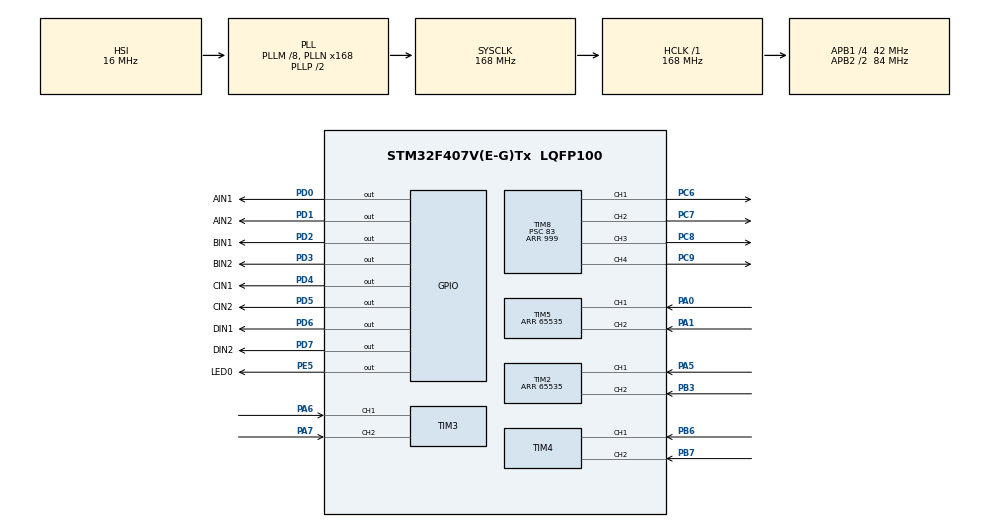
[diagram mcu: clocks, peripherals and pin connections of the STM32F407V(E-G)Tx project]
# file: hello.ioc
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Mcu.Family=STM32F4
Mcu.Name=STM32F407V(E-G)Tx
Mcu.Package=LQFP100
NVIC.PriorityGroup=NVIC_PRIORITYGROUP_4
NVIC.TIM6_DAC_IRQn=true\:0\:0\:false\:false\:true\:true\:true\:true
PA0-WKUP.Signal=S_TIM5_CH1
PA1.Signal=S_TIM5_CH2
PA13.Mode=Serial_Wire
PA13.Signal=SYS_JTMS-SWDIO
PA14.Mode=Serial_Wire
PA14.Signal=SYS_JTCK-SWCLK
PA5.Signal=S_TIM2_CH1_ETR
PA6.Signal=S_TIM3_CH1
PA7.Signal=S_TIM3_CH2
PB3.Signal=S_TIM2_CH2
PB6.Signal=S_TIM4_CH1
PB7.Signal=S_TIM4_CH2
PC6.Signal=S_TIM8_CH1
PC7.Signal=S_TIM8_CH2
PC8.Signal=S_TIM8_CH3
PC9.Signal=S_TIM8_CH4
PD0.GPIO_Label=AIN1
PD0.Signal=GPIO_Output
PD1.GPIO_Label=AIN2
PD1.Signal=GPIO_Output
PD2.GPIO_Label=BIN1
PD2.Signal=GPIO_Output
PD3.GPIO_Label=BIN2
PD3.Signal=GPIO_Output
PD4.GPIO_Label=CIN1
PD4.Signal=GPIO_Output
PD5.GPIO_Label=CIN2
PD5.Signal=GPIO_Output
PD6.GPIO_Label=DIN1
PD6.Signal=GPIO_Output
PD7.GPIO_Label=DIN2
PD7.Signal=GPIO_Output
PE5.GPIO_Label=LED0
PE5.Signal=GPIO_Output
PH0-OSC_IN.Mode=HSE-External-Oscillator
PH0-OSC_IN.Signal=RCC_OSC_IN
PH1-OSC_OUT.Mode=HSE-External-Oscillator
PH1-OSC_OUT.Signal=RCC_OSC_OUT
ProjectManager.HeapSize=0x200
ProjectManager.StackSize=0x400
ProjectManager.TargetToolchain=MDK-ARM V5.32
RCC.48MHZClocksFreq_Value=84000000
RCC.AHBFreq_Value=168000000
RCC.APB1CLKDivider=RCC_HCLK_DIV4
RCC.APB1Freq_Value=42000000
RCC.APB1TimFreq_Value=84000000
RCC.APB2CLKDivider=RCC_HCLK_DIV2
RCC.APB2Freq_Value=84000000
RCC.APB2TimFreq_Value=168000000
RCC.CortexFreq_Value=168000000
RCC.HCLKFreq_Value=168000000
RCC.HSE_VALUE=8000000
RCC.HSI_VALUE=16000000
RCC.LSE_VALUE=32768
RCC.PLLM=8
RCC.PLLN=168
RCC.SYSCLKFreq_VALUE=168000000
RCC.SYSCLKSource=RCC_SYSCLKSOURCE_PLLCLK
RCC.VCOOutputFreq_Value=336000000
SH.S_TIM2_CH1_ETR.0=TIM2_CH1,Encoder_Interface
SH.S_TIM2_CH2.0=TIM2_CH2,Encoder_Interface
SH.S_TIM3_CH1.0=TIM3_CH1,Encoder_Interface
SH.S_TIM3_CH2.0=TIM3_CH2,Encoder_Interface
SH.S_TIM4_CH1.0=TIM4_CH1,Encoder_Interface
SH.S_TIM4_CH2.0=TIM4_CH2,Encoder_Interface
SH.S_TIM5_CH1.0=TIM5_CH1,Encoder_Interface
SH.S_TIM5_CH2.0=TIM5_CH2,Encoder_Interface
SH.S_TIM8_CH1.0=TIM8_CH1,PWM Generation1 CH1
SH.S_TIM8_CH2.0=TIM8_CH2,PWM Generation2 CH2
SH.S_TIM8_CH3.0=TIM8_CH3,PWM Generation3 CH3
SH.S_TIM8_CH4.0=TIM8_CH4,PWM Generation4 CH4
TIM2.EncoderMode=TIM_ENCODERMODE_TI12
TIM2.Period=65535
TIM3.EncoderMode=TIM_ENCODERMODE_TI12
TIM4.EncoderMode=TIM_ENCODERMODE_TI12
TIM5.EncoderMode=TIM_ENCODERMODE_TI12
TIM5.Period=65535
TIM6.Period=999
TIM6.Prescaler=83
TIM8.Channel-PWM\ Generation1\ CH1=TIM_CHANNEL_1
TIM8.Channel-PWM\ Generation2\ CH2=TIM_CHANNEL_2
TIM8.Channel-PWM\ Generation3\ CH3=TIM_CHANNEL_3
TIM8.Channel-PWM\ Generation4\ CH4=TIM_CHANNEL_4
TIM8.Period=999
TIM8.Prescaler=83
VP_TIM6_VS_ClockSourceINT.Mode=Enable_Timer
VP_TIM8_VS_ClockSourceINT.Mode=Internal
board=custom

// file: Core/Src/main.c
/* USER CODE BEGIN Header */
/**
  ******************************************************************************
  * @file           : main.c
  * @brief          : Main program body
  ******************************************************************************
  * @attention
  *
  * Copyright (c) 2026 STMicroelectronics.
  * All rights reserved.
  *
  * This software is licensed under terms that can be found in the LICENSE file
  * in the root directory of this software component.
  * If no LICENSE file comes with this software, it is provided AS-IS.
  *
  ******************************************************************************
  */
/* USER CODE END Header */
#include "main.h"

TIM_HandleTypeDef htim2;
TIM_HandleTypeDef htim3;
TIM_HandleTypeDef htim4;
TIM_HandleTypeDef htim5;
TIM_HandleTypeDef htim6;
TIM_HandleTypeDef htim8;

/* USER CODE BEGIN PV */
static int32_t g_encoder_count_total[MOTOR_NUM];
static uint16_t g_encoder_count_last[MOTOR_NUM];
static float g_encoder_speed_counts[MOTOR_NUM];
volatile float g_wheel_speed_mmps[MOTOR_NUM];

/* USER CODE END PV */

void SystemClock_Config(void);
static void MX_GPIO_Init(void);
static void MX_TIM8_Init(void);
static void MX_TIM2_Init(void);
static void MX_TIM3_Init(void);
static void MX_TIM4_Init(void);
static void MX_TIM5_Init(void);
static void MX_TIM6_Init(void);
/* USER CODE BEGIN PFP */
static int16_t Encoder_CountToDelta(uint16_t now, uint16_t last);
static void Motor_SetPWM(uint8_t motor_id, int16_t pwm_val);

/* USER CODE END PFP */

int main(void)
{

  /* MCU Configuration--------------------------------------------------------*/

  /* Reset of all peripherals, Initializes the Flash interface and the Systick. */
  HAL_Init();

  /* Configure the system clock */
  SystemClock_Config();

  /* Initialize all configured peripherals */
  MX_GPIO_Init();
  MX_TIM8_Init();
  MX_TIM2_Init();
  MX_TIM3_Init();
  MX_TIM4_Init();
  MX_TIM5_Init();
  MX_TIM6_Init();
  /* USER CODE BEGIN 2 */
  Encoder_Init();
  if (HAL_TIM_Base_Start_IT(&htim6) != HAL_OK)
  {
    Error_Handler();
  }
  Motor_SetPWM(0, 500);
  Motor_SetPWM(1, -500);
  Motor_SetPWM(2, -500);
  Motor_SetPWM(3, 500);

  /* USER CODE END 2 */

  /* Infinite loop */
  while (1)
  {

    /* USER CODE BEGIN 3 */
		HAL_GPIO_TogglePin(LED0_GPIO_Port,LED0_Pin);
		HAL_Delay(100);
  }
  /* USER CODE END 3 */
}

void SystemClock_Config(void)
{
  RCC_OscInitTypeDef RCC_OscInitStruct = {0};
  RCC_ClkInitTypeDef RCC_ClkInitStruct = {0};

  /** Configure the main internal regulator output voltage
  */
  __HAL_RCC_PWR_CLK_ENABLE();
  __HAL_PWR_VOLTAGESCALING_CONFIG(PWR_REGULATOR_VOLTAGE_SCALE1);

  /** Initializes the RCC Oscillators according to the specified parameters
  * in the RCC_OscInitTypeDef structure.
  */
  RCC_OscInitStruct.OscillatorType = RCC_OSCILLATORTYPE_HSI;
  RCC_OscInitStruct.HSIState = RCC_HSI_ON;
  RCC_OscInitStruct.HSICalibrationValue = RCC_HSICALIBRATION_DEFAULT;
  RCC_OscInitStruct.PLL.PLLState = RCC_PLL_ON;
  RCC_OscInitStruct.PLL.PLLSource = RCC_PLLSOURCE_HSI;
  RCC_OscInitStruct.PLL.PLLM = 8;
  RCC_OscInitStruct.PLL.PLLN = 168;
  RCC_OscInitStruct.PLL.PLLP = RCC_PLLP_DIV2;
  RCC_OscInitStruct.PLL.PLLQ = 4;
  if (HAL_RCC_OscConfig(&RCC_OscInitStruct) != HAL_OK)
  {
    Error_Handler();
  }

  /** Initializes the CPU, AHB and APB buses clocks
  */
  RCC_ClkInitStruct.ClockType = RCC_CLOCKTYPE_HCLK|RCC_CLOCKTYPE_SYSCLK
                              |RCC_CLOCKTYPE_PCLK1|RCC_CLOCKTYPE_PCLK2;
  RCC_ClkInitStruct.SYSCLKSource = RCC_SYSCLKSOURCE_PLLCLK;
  RCC_ClkInitStruct.AHBCLKDivider = RCC_SYSCLK_DIV1;
  RCC_ClkInitStruct.APB1CLKDivider = RCC_HCLK_DIV4;
  RCC_ClkInitStruct.APB2CLKDivider = RCC_HCLK_DIV2;

  if (HAL_RCC_ClockConfig(&RCC_ClkInitStruct, FLASH_LATENCY_5) != HAL_OK)
  {
    Error_Handler();
  }
}

static void MX_TIM2_Init(void)
{

  TIM_Encoder_InitTypeDef sConfig = {0};
  TIM_MasterConfigTypeDef sMasterConfig = {0};

  htim2.Instance = TIM2;
  htim2.Init.Prescaler = 0;
  htim2.Init.CounterMode = TIM_COUNTERMODE_UP;
  htim2.Init.Period = 65535;
  htim2.Init.ClockDivision = TIM_CLOCKDIVISION_DIV1;
  htim2.Init.AutoReloadPreload = TIM_AUTORELOAD_PRELOAD_DISABLE;
  sConfig.EncoderMode = TIM_ENCODERMODE_TI12;
  sConfig.IC1Polarity = TIM_ICPOLARITY_RISING;
  sConfig.IC1Selection = TIM_ICSELECTION_DIRECTTI;
  sConfig.IC1Prescaler = TIM_ICPSC_DIV1;
  sConfig.IC1Filter = 0;
  sConfig.IC2Polarity = TIM_ICPOLARITY_RISING;
  sConfig.IC2Selection = TIM_ICSELECTION_DIRECTTI;
  sConfig.IC2Prescaler = TIM_ICPSC_DIV1;
  sConfig.IC2Filter = 0;
  if (HAL_TIM_Encoder_Init(&htim2, &sConfig) != HAL_OK)
  {
    Error_Handler();
  }
  sMasterConfig.MasterOutputTrigger = TIM_TRGO_RESET;
  sMasterConfig.MasterSlaveMode = TIM_MASTERSLAVEMODE_DISABLE;
  if (HAL_TIMEx_MasterConfigSynchronization(&htim2, &sMasterConfig) != HAL_OK)
  {
    Error_Handler();
  }

}

static void MX_TIM3_Init(void)
{

  TIM_Encoder_InitTypeDef sConfig = {0};
  TIM_MasterConfigTypeDef sMasterConfig = {0};

  htim3.Instance = TIM3;
  htim3.Init.Prescaler = 0;
  htim3.Init.CounterMode = TIM_COUNTERMODE_UP;
  htim3.Init.Period = 65535;
  htim3.Init.ClockDivision = TIM_CLOCKDIVISION_DIV1;
  htim3.Init.AutoReloadPreload = TIM_AUTORELOAD_PRELOAD_DISABLE;
  sConfig.EncoderMode = TIM_ENCODERMODE_TI12;
  sConfig.IC1Polarity = TIM_ICPOLARITY_RISING;
  sConfig.IC1Selection = TIM_ICSELECTION_DIRECTTI;
  sConfig.IC1Prescaler = TIM_ICPSC_DIV1;
  sConfig.IC1Filter = 0;
  sConfig.IC2Polarity = TIM_ICPOLARITY_RISING;
  sConfig.IC2Selection = TIM_ICSELECTION_DIRECTTI;
  sConfig.IC2Prescaler = TIM_ICPSC_DIV1;
  sConfig.IC2Filter = 0;
  if (HAL_TIM_Encoder_Init(&htim3, &sConfig) != HAL_OK)
  {
    Error_Handler();
  }
  sMasterConfig.MasterOutputTrigger = TIM_TRGO_RESET;
  sMasterConfig.MasterSlaveMode = TIM_MASTERSLAVEMODE_DISABLE;
  if (HAL_TIMEx_MasterConfigSynchronization(&htim3, &sMasterConfig) != HAL_OK)
  {
    Error_Handler();
  }

}

static void MX_TIM4_Init(void)
{

  TIM_Encoder_InitTypeDef sConfig = {0};
  TIM_MasterConfigTypeDef sMasterConfig = {0};

  htim4.Instance = TIM4;
  htim4.Init.Prescaler = 0;
  htim4.Init.CounterMode = TIM_COUNTERMODE_UP;
  htim4.Init.Period = 65535;
  htim4.Init.ClockDivision = TIM_CLOCKDIVISION_DIV1;
  htim4.Init.AutoReloadPreload = TIM_AUTORELOAD_PRELOAD_DISABLE;
  sConfig.EncoderMode = TIM_ENCODERMODE_TI12;
  sConfig.IC1Polarity = TIM_ICPOLARITY_RISING;
  sConfig.IC1Selection = TIM_ICSELECTION_DIRECTTI;
  sConfig.IC1Prescaler = TIM_ICPSC_DIV1;
  sConfig.IC1Filter = 0;
  sConfig.IC2Polarity = TIM_ICPOLARITY_RISING;
  sConfig.IC2Selection = TIM_ICSELECTION_DIRECTTI;
  sConfig.IC2Prescaler = TIM_ICPSC_DIV1;
  sConfig.IC2Filter = 0;
  if (HAL_TIM_Encoder_Init(&htim4, &sConfig) != HAL_OK)
  {
    Error_Handler();
  }
  sMasterConfig.MasterOutputTrigger = TIM_TRGO_RESET;
  sMasterConfig.MasterSlaveMode = TIM_MASTERSLAVEMODE_DISABLE;
  if (HAL_TIMEx_MasterConfigSynchronization(&htim4, &sMasterConfig) != HAL_OK)
  {
    Error_Handler();
  }

}

static void MX_TIM5_Init(void)
{

  TIM_Encoder_InitTypeDef sConfig = {0};
  TIM_MasterConfigTypeDef sMasterConfig = {0};

  htim5.Instance = TIM5;
  htim5.Init.Prescaler = 0;
  htim5.Init.CounterMode = TIM_COUNTERMODE_UP;
  htim5.Init.Period = 65535;
  htim5.Init.ClockDivision = TIM_CLOCKDIVISION_DIV1;
  htim5.Init.AutoReloadPreload = TIM_AUTORELOAD_PRELOAD_DISABLE;
  sConfig.EncoderMode = TIM_ENCODERMODE_TI12;
  sConfig.IC1Polarity = TIM_ICPOLARITY_RISING;
  sConfig.IC1Selection = TIM_ICSELECTION_DIRECTTI;
  sConfig.IC1Prescaler = TIM_ICPSC_DIV1;
  sConfig.IC1Filter = 0;
  sConfig.IC2Polarity = TIM_ICPOLARITY_RISING;
  sConfig.IC2Selection = TIM_ICSELECTION_DIRECTTI;
  sConfig.IC2Prescaler = TIM_ICPSC_DIV1;
  sConfig.IC2Filter = 0;
  if (HAL_TIM_Encoder_Init(&htim5, &sConfig) != HAL_OK)
  {
    Error_Handler();
  }
  sMasterConfig.MasterOutputTrigger = TIM_TRGO_RESET;
  sMasterConfig.MasterSlaveMode = TIM_MASTERSLAVEMODE_DISABLE;
  if (HAL_TIMEx_MasterConfigSynchronization(&htim5, &sMasterConfig) != HAL_OK)
  {
    Error_Handler();
  }

}

static void MX_TIM6_Init(void)
{

  TIM_MasterConfigTypeDef sMasterConfig = {0};

  htim6.Instance = TIM6;
  htim6.Init.Prescaler = 83;
  htim6.Init.CounterMode = TIM_COUNTERMODE_UP;
  htim6.Init.Period = 999;
  htim6.Init.AutoReloadPreload = TIM_AUTORELOAD_PRELOAD_DISABLE;
  if (HAL_TIM_Base_Init(&htim6) != HAL_OK)
  {
    Error_Handler();
  }
  sMasterConfig.MasterOutputTrigger = TIM_TRGO_RESET;
  sMasterConfig.MasterSlaveMode = TIM_MASTERSLAVEMODE_DISABLE;
  if (HAL_TIMEx_MasterConfigSynchronization(&htim6, &sMasterConfig) != HAL_OK)
  {
    Error_Handler();
  }

}

static void MX_TIM8_Init(void)
{

  TIM_ClockConfigTypeDef sClockSourceConfig = {0};
  TIM_MasterConfigTypeDef sMasterConfig = {0};
  TIM_OC_InitTypeDef sConfigOC = {0};
  TIM_BreakDeadTimeConfigTypeDef sBreakDeadTimeConfig = {0};

  htim8.Instance = TIM8;
  htim8.Init.Prescaler = 83;
  htim8.Init.CounterMode = TIM_COUNTERMODE_UP;
  htim8.Init.Period = 999;
  htim8.Init.ClockDivision = TIM_CLOCKDIVISION_DIV1;
  htim8.Init.RepetitionCounter = 0;
  htim8.Init.AutoReloadPreload = TIM_AUTORELOAD_PRELOAD_DISABLE;
  if (HAL_TIM_Base_Init(&htim8) != HAL_OK)
  {
    Error_Handler();
  }
  sClockSourceConfig.ClockSource = TIM_CLOCKSOURCE_INTERNAL;
  if (HAL_TIM_ConfigClockSource(&htim8, &sClockSourceConfig) != HAL_OK)
  {
    Error_Handler();
  }
  if (HAL_TIM_PWM_Init(&htim8) != HAL_OK)
  {
    Error_Handler();
  }
  sMasterConfig.MasterOutputTrigger = TIM_TRGO_RESET;
  sMasterConfig.MasterSlaveMode = TIM_MASTERSLAVEMODE_DISABLE;
  if (HAL_TIMEx_MasterConfigSynchronization(&htim8, &sMasterConfig) != HAL_OK)
  {
    Error_Handler();
  }
  sConfigOC.OCMode = TIM_OCMODE_PWM1;
  sConfigOC.Pulse = 0;
  sConfigOC.OCPolarity = TIM_OCPOLARITY_HIGH;
  sConfigOC.OCNPolarity = TIM_OCNPOLARITY_HIGH;
  sConfigOC.OCFastMode = TIM_OCFAST_DISABLE;
  sConfigOC.OCIdleState = TIM_OCIDLESTATE_RESET;
  sConfigOC.OCNIdleState = TIM_OCNIDLESTATE_RESET;
  if (HAL_TIM_PWM_ConfigChannel(&htim8, &sConfigOC, TIM_CHANNEL_1) != HAL_OK)
  {
    Error_Handler();
  }
  if (HAL_TIM_PWM_ConfigChannel(&htim8, &sConfigOC, TIM_CHANNEL_2) != HAL_OK)
  {
    Error_Handler();
  }
  if (HAL_TIM_PWM_ConfigChannel(&htim8, &sConfigOC, TIM_CHANNEL_3) != HAL_OK)
  {
    Error_Handler();
  }
  if (HAL_TIM_PWM_ConfigChannel(&htim8, &sConfigOC, TIM_CHANNEL_4) != HAL_OK)
  {
    Error_Handler();
  }
  sBreakDeadTimeConfig.OffStateRunMode = TIM_OSSR_DISABLE;
  sBreakDeadTimeConfig.OffStateIDLEMode = TIM_OSSI_DISABLE;
  sBreakDeadTimeConfig.LockLevel = TIM_LOCKLEVEL_OFF;
  sBreakDeadTimeConfig.DeadTime = 0;
  sBreakDeadTimeConfig.BreakState = TIM_BREAK_DISABLE;
  sBreakDeadTimeConfig.BreakPolarity = TIM_BREAKPOLARITY_HIGH;
  sBreakDeadTimeConfig.AutomaticOutput = TIM_AUTOMATICOUTPUT_DISABLE;
  if (HAL_TIMEx_ConfigBreakDeadTime(&htim8, &sBreakDeadTimeConfig) != HAL_OK)
  {
    Error_Handler();
  }
  HAL_TIM_MspPostInit(&htim8);

}

static void MX_GPIO_Init(void)
{
  GPIO_InitTypeDef GPIO_InitStruct = {0};

  /* GPIO Ports Clock Enable */
  __HAL_RCC_GPIOE_CLK_ENABLE();
  __HAL_RCC_GPIOH_CLK_ENABLE();
  __HAL_RCC_GPIOA_CLK_ENABLE();
  __HAL_RCC_GPIOC_CLK_ENABLE();
  __HAL_RCC_GPIOD_CLK_ENABLE();
  __HAL_RCC_GPIOB_CLK_ENABLE();

  /*Configure GPIO pin Output Level */
  HAL_GPIO_WritePin(LED0_GPIO_Port, LED0_Pin, GPIO_PIN_RESET);

  /*Configure GPIO pin Output Level */
  HAL_GPIO_WritePin(GPIOD, AIN1_Pin|AIN2_Pin|BIN1_Pin|BIN2_Pin
                          |CIN1_Pin|CIN2_Pin|DIN1_Pin|DIN2_Pin, GPIO_PIN_RESET);

  /*Configure GPIO pin : LED0_Pin */
  GPIO_InitStruct.Pin = LED0_Pin;
  GPIO_InitStruct.Mode = GPIO_MODE_OUTPUT_PP;
  GPIO_InitStruct.Pull = GPIO_NOPULL;
  GPIO_InitStruct.Speed = GPIO_SPEED_FREQ_LOW;
  HAL_GPIO_Init(LED0_GPIO_Port, &GPIO_InitStruct);

  /*Configure GPIO pins : AIN1_Pin AIN2_Pin BIN1_Pin BIN2_Pin
                           CIN1_Pin CIN2_Pin DIN1_Pin DIN2_Pin */
  GPIO_InitStruct.Pin = AIN1_Pin|AIN2_Pin|BIN1_Pin|BIN2_Pin
                          |CIN1_Pin|CIN2_Pin|DIN1_Pin|DIN2_Pin;
  GPIO_InitStruct.Mode = GPIO_MODE_OUTPUT_PP;
  GPIO_InitStruct.Pull = GPIO_NOPULL;
  GPIO_InitStruct.Speed = GPIO_SPEED_FREQ_LOW;
  HAL_GPIO_Init(GPIOD, &GPIO_InitStruct);

}

/* USER CODE BEGIN 4 */
static int16_t Encoder_CountToDelta(uint16_t now, uint16_t last)
{
  return (int16_t)(now - last);
}

void Encoder_Init(void)
{
  uint8_t i;

  for (i = 0; i < MOTOR_NUM; i++)
  {
    g_encoder_count_total[i] = 0;
    g_encoder_count_last[i] = 0U;
    g_encoder_speed_counts[i] = 0.0f;//counts/s
    g_wheel_speed_mmps[i] = 0.0f;
  }

  if (HAL_TIM_Encoder_Start(&htim2, TIM_CHANNEL_ALL) != HAL_OK)
  {
    Error_Handler();
  }
  if (HAL_TIM_Encoder_Start(&htim3, TIM_CHANNEL_ALL) != HAL_OK)
  {
    Error_Handler();
  }
  if (HAL_TIM_Encoder_Start(&htim4, TIM_CHANNEL_ALL) != HAL_OK)
  {
    Error_Handler();
  }
  if (HAL_TIM_Encoder_Start(&htim5, TIM_CHANNEL_ALL) != HAL_OK)
  {
    Error_Handler();
  }

  g_encoder_count_last[ENC_M1] = (uint16_t)__HAL_TIM_GET_COUNTER(&htim2);
  g_encoder_count_last[ENC_M2] = (uint16_t)__HAL_TIM_GET_COUNTER(&htim3);
  g_encoder_count_last[ENC_M3] = (uint16_t)__HAL_TIM_GET_COUNTER(&htim4);
  g_encoder_count_last[ENC_M4] = (uint16_t)__HAL_TIM_GET_COUNTER(&htim5);
}

uint16_t Encoder_GetCount(uint8_t motor_id)
{
  switch (motor_id)
  {
    case ENC_M1:
      return (uint16_t)__HAL_TIM_GET_COUNTER(&htim2);
    case ENC_M2:
      return (uint16_t)__HAL_TIM_GET_COUNTER(&htim3);
    case ENC_M3:
      return (uint16_t)__HAL_TIM_GET_COUNTER(&htim4);
    case ENC_M4:
      return (uint16_t)__HAL_TIM_GET_COUNTER(&htim5);
    default:
      return 0U;
  }
}

float Encoder_GetSpeed(uint8_t motor_id)
{
  if (motor_id >= MOTOR_NUM)
  {
    return 0.0f;
  }

  return g_encoder_speed_counts[motor_id];
}

float Encoder_GetSpeedMMps(uint8_t motor_id)
{
  if (motor_id >= MOTOR_NUM)
  {
    return 0.0f;
  }

  return g_wheel_speed_mmps[motor_id];
}

void Encoder_UpdateSpeed(void)
{
  uint16_t raw[MOTOR_NUM];
  uint8_t i;

  raw[ENC_M1] = (uint16_t)__HAL_TIM_GET_COUNTER(&htim2);
  raw[ENC_M2] = (uint16_t)__HAL_TIM_GET_COUNTER(&htim3);
  raw[ENC_M3] = (uint16_t)__HAL_TIM_GET_COUNTER(&htim4);
  raw[ENC_M4] = (uint16_t)__HAL_TIM_GET_COUNTER(&htim5);

  for (i = 0; i < MOTOR_NUM; i++)
  {
    int16_t delta = Encoder_CountToDelta(raw[i], g_encoder_count_last[i]);
    g_encoder_count_total[i] += delta;
    g_encoder_count_last[i] = raw[i];
    g_encoder_speed_counts[i] = ((float)delta * DF_WHEEL_POLARITY) * 1000.0f / (float)ENCODER_SAMPLE_MS;//��λ����/s
    g_wheel_speed_mmps[i] = g_encoder_speed_counts[i] / COUNTS_PER_MM;//��λmm/s
  }
}

static void Motor_SetPWM(uint8_t motor_id, int16_t pwm_val)
{
  uint16_t pwm_abs;

  if (pwm_val >= 0)
  {
    pwm_abs = (uint16_t)pwm_val;
  }
  else
  {
    pwm_abs = (uint16_t)(-pwm_val);
  }

  switch (motor_id)
  {
    case 0:
      if (pwm_val >= 0)
      {
        HAL_GPIO_WritePin(AIN1_GPIO_Port, AIN1_Pin, GPIO_PIN_RESET);
        HAL_GPIO_WritePin(AIN2_GPIO_Port, AIN2_Pin, GPIO_PIN_SET);
      }
      else
      {
        HAL_GPIO_WritePin(AIN1_GPIO_Port, AIN1_Pin, GPIO_PIN_SET);
        HAL_GPIO_WritePin(AIN2_GPIO_Port, AIN2_Pin, GPIO_PIN_RESET);
      }
      __HAL_TIM_SET_COMPARE(&htim8, TIM_CHANNEL_1, pwm_abs);
      if (HAL_TIM_PWM_Start(&htim8, TIM_CHANNEL_1) != HAL_OK)
      {
        Error_Handler();
      }
      break;
    case 1:
      if (pwm_val >= 0)
      {
        HAL_GPIO_WritePin(BIN1_GPIO_Port, BIN1_Pin, GPIO_PIN_RESET);
        HAL_GPIO_WritePin(BIN2_GPIO_Port, BIN2_Pin, GPIO_PIN_SET);
      }
      else
      {
        HAL_GPIO_WritePin(BIN1_GPIO_Port, BIN1_Pin, GPIO_PIN_SET);
        HAL_GPIO_WritePin(BIN2_GPIO_Port, BIN2_Pin, GPIO_PIN_RESET);
      }
      __HAL_TIM_SET_COMPARE(&htim8, TIM_CHANNEL_2, pwm_abs);
      if (HAL_TIM_PWM_Start(&htim8, TIM_CHANNEL_2) != HAL_OK)
      {
        Error_Handler();
      }
      break;
    case 2:
      if (pwm_val >= 0)
      {
        HAL_GPIO_WritePin(CIN1_GPIO_Port, CIN1_Pin, GPIO_PIN_RESET);
        HAL_GPIO_WritePin(CIN2_GPIO_Port, CIN2_Pin, GPIO_PIN_SET);
      }
      else
      {
        HAL_GPIO_WritePin(CIN1_GPIO_Port, CIN1_Pin, GPIO_PIN_SET);
        HAL_GPIO_WritePin(CIN2_GPIO_Port, CIN2_Pin, GPIO_PIN_RESET);
      }
      __HAL_TIM_SET_COMPARE(&htim8, TIM_CHANNEL_3, pwm_abs);
      if (HAL_TIM_PWM_Start(&htim8, TIM_CHANNEL_3) != HAL_OK)
      {
        Error_Handler();
      }
      break;
    case 3:
      if (pwm_val >= 0)
      {
        HAL_GPIO_WritePin(DIN1_GPIO_Port, DIN1_Pin, GPIO_PIN_RESET);
        HAL_GPIO_WritePin(DIN2_GPIO_Port, DIN2_Pin, GPIO_PIN_SET);
      }
      else
      {
        HAL_GPIO_WritePin(DIN1_GPIO_Port, DIN1_Pin, GPIO_PIN_SET);
        HAL_GPIO_WritePin(DIN2_GPIO_Port, DIN2_Pin, GPIO_PIN_RESET);
      }
      __HAL_TIM_SET_COMPARE(&htim8, TIM_CHANNEL_4, pwm_abs);
      if (HAL_TIM_PWM_Start(&htim8, TIM_CHANNEL_4) != HAL_OK)
      {
        Error_Handler();
      }
      break;
    default:
      break;
  }
}

/* USER CODE END 4 */

void Error_Handler(void)
{
  __disable_irq();
  while (1)
  {
  }
}
